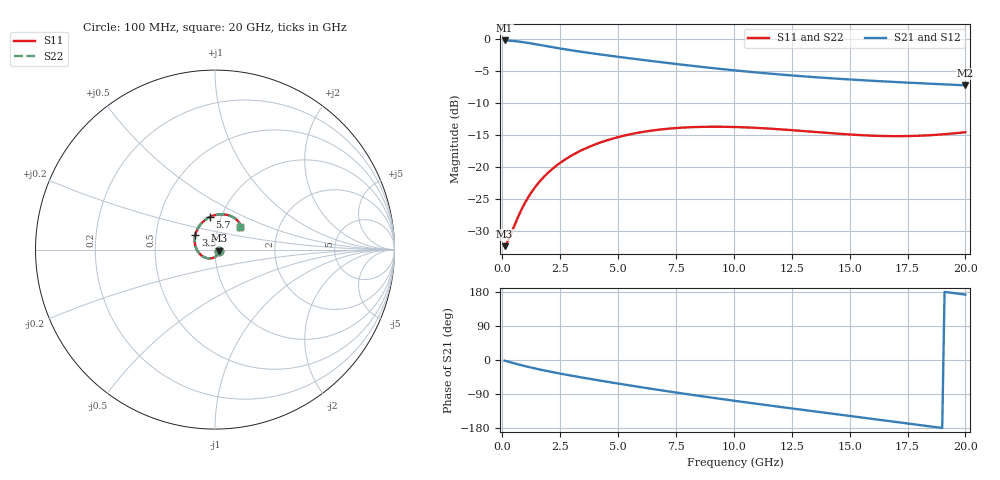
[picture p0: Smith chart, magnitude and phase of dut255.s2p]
! Created with skrf 1.9.0 (http://scikit-rf.org).
# GHz S RI R 50.0
!freq ReS11 ImS11 ReS21 ImS21 ReS12 ImS12 ReS22 ImS22
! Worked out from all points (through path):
!   200 points, 100 MHz to 20 GHz, reference 50 ohm
!   highest |S21| = -0.21 dB at 100 MHz (marker M1); lowest = -7.2 dB at 20 GHz (marker M2)
!   group delay of S21, straight-line fit = 24.6 ps
!   lowest |S11| = -32.4 dB at 100 MHz (marker M3), VSWR 1.05, Z = 52.4 - j0.687 ohm
!   |S11| at or under -10 dB: start of sweep to end of sweep
!   |S22| runs from -32.4 to -13.7 dB; largest |S21 - S12| = 2.6e-15
!   S11 on the Smith chart (normalised r, x): 100 MHz: 1.05, -0.01; 3.5 GHz: 0.79, +0.13; 5.7 GHz: 0.88, +0.33; 20 GHz: 1.28, +0.33
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0.1  0.0232 -0.00656  0.9754 -0.0297  0.9754 -0.0297  0.0232 -0.00656
0.2  0.0217 -0.0137  0.9727 -0.0585  0.9727 -0.0585  0.0217 -0.0137
0.3  0.0191 -0.0204  0.9684 -0.087  0.9684 -0.087  0.0191 -0.0204
0.7  -0.000654 -0.0415  0.9372 -0.1942  0.9372 -0.1942  -0.000654 -0.0415
0.9  -0.0145 -0.0472  0.9149 -0.2423  0.9149 -0.2423  -0.0145 -0.0472
1.2  -0.0371 -0.0487  0.8759 -0.3067  0.8759 -0.3067  -0.0371 -0.0487
1.5  -0.0591 -0.0426  0.833 -0.3619  0.833 -0.3619  -0.0591 -0.0426
1.9  -0.084 -0.0249  0.7734 -0.4232  0.7734 -0.4232  -0.084 -0.0249
2.4  -0.1045 0.00645  0.699 -0.4842  0.699 -0.4842  -0.1045 0.00645
2.9  -0.1129 0.0418  0.6263 -0.5324  0.6263 -0.5324  -0.1129 0.0418
3.5  -0.1094 0.083  0.5415 -0.5775  0.5415 -0.5775  -0.1094 0.083
4.6  -0.0776 0.144  0.3918 -0.6314  0.3918 -0.6314  -0.0776 0.144
5.7  -0.0304 0.1806  0.2508 -0.654  0.2508 -0.654  -0.0304 0.1806
6.8  0.0184 0.1956  0.1216 -0.6506  0.1216 -0.6506  0.0184 0.1956
8.4  0.0777 0.1906  -0.0406 -0.6109  -0.0406 -0.6109  0.0777 0.1906
10.1  0.1186 0.1679  -0.1783 -0.5394  -0.1783 -0.5394  0.1186 0.1679
11.7  0.1379 0.1435  -0.2782 -0.4561  -0.2782 -0.4561  0.1379 0.1435
13.4  0.1436 0.1226  -0.3572 -0.3576  -0.3572 -0.3576  0.1436 0.1226
15  0.1412 0.1113  -0.4084 -0.2591  -0.4084 -0.2591  0.1412 0.1113
16.7  0.1365 0.1089  -0.4396 -0.1509  -0.4396 -0.1509  0.1365 0.1089
18.3  0.1349 0.1142  -0.4471 -0.0486  -0.4471 -0.0486  0.1349 0.1142
20  0.1399 0.1244  -0.4317 0.0565  -0.4317 0.0565  0.1399 0.1244
